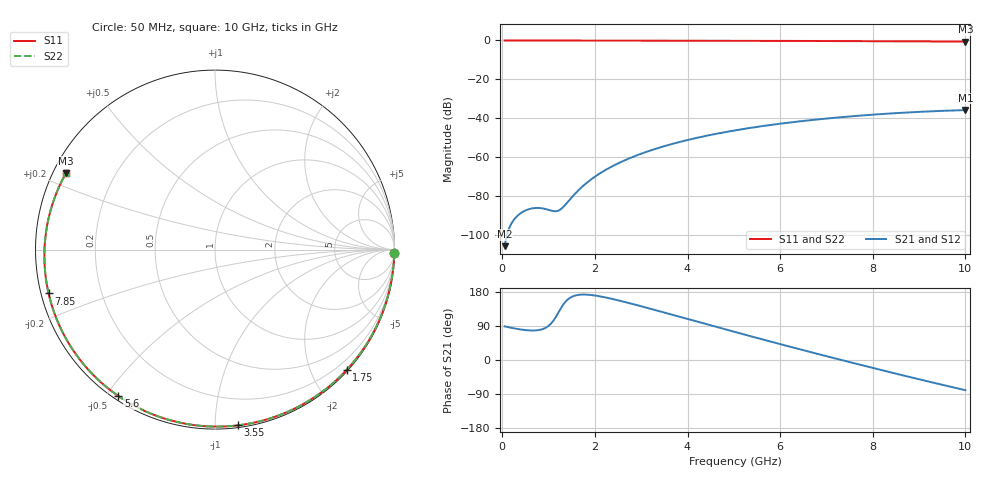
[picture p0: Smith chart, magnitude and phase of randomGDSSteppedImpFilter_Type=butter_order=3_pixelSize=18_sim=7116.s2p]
! freq	dB(S11)	phase(S11)	dB(S12)	phase(S12)
!  dB(S21)	phase(S21)	dB(S22)	phase(S22)
!S-par simulation data
#  GHz  S  DB  R 50
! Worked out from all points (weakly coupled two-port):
!   200 points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, 50 MHz to 10 GHz, reference 50 ohm
!   highest |S21| = -35.88 dB at 10 GHz (marker M1); lowest = -106.0 dB at 50 MHz (marker M2)
!   lowest |S11| = -0.6 dB at 10 GHz (marker M3), VSWR 28.92, Z = 1.83 + j12 ohm
!   |S11| at or under -10 dB: nowhere
!   |S22| runs from -0.6 to 0.0 dB; largest |S21 - S12| = 0
!   S11 on the Smith chart (normalised r, x): 50 MHz: 1, -95; 1.75 GHz: 0.02, -2.57; 3.55 GHz: 0.01, -1.14; 5.6 GHz: 0.01, -0.54; 7.85 GHz: 0.02, -0.13; 10 GHz: 0.04, +0.24
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0.05  -0.00 -1.2  -105.99 88.7  -105.99 88.7  -0.00 -1.2
0.4  -0.02 -9.9  -88.94 80.5  -88.94 80.5  -0.02 -9.9
0.75  -0.02 -18.5  -86.29 78.4  -86.29 78.4  -0.02 -18.5
1.1  -0.03 -27.0  -87.90 103.3  -87.90 103.3  -0.03 -27.0
1.5  -0.05 -36.5  -80.83 166.7  -80.83 166.7  -0.05 -36.5
1.55  -0.05 -37.7  -79.50 169.2  -79.50 169.2  -0.05 -37.7
1.75  -0.05 -42.4  -74.82 172.8  -74.82 172.8  -0.05 -42.4
2.05  -0.06 -49.4  -69.37 169.3  -69.37 169.3  -0.06 -49.4
2.45  -0.07 -58.6  -63.92 159.0  -63.92 159.0  -0.07 -58.6
2.9  -0.09 -68.6  -59.24 145.1  -59.24 145.1  -0.09 -68.6
3.4  -0.10 -79.4  -55.17 128.5  -55.17 128.5  -0.10 -79.4
3.55  -0.11 -82.6  -54.11 123.5  -54.11 123.5  -0.11 -82.6
4.3  -0.14 -98.1  -49.66 98.2  -49.66 98.2  -0.14 -98.1
5.05  -0.17 -112.9  -46.23 73.1  -46.23 73.1  -0.17 -112.9
5.6  -0.20 -123.5  -44.19 54.9  -44.19 54.9  -0.20 -123.5
6.15  -0.23 -133.8  -42.44 37.1  -42.44 37.1  -0.23 -133.8
6.7  -0.27 -144.0  -40.95 19.5  -40.95 19.5  -0.27 -144.0
7.3  -0.32 -155.1  -39.57 0.7  -39.57 0.7  -0.32 -155.1
7.85  -0.37 -165.2  -38.50 -16.3  -38.50 -16.3  -0.37 -165.3
8.35  -0.42 -174.6  -37.67 -31.5  -37.67 -31.5  -0.42 -174.6
9.2  -0.51 169.1  -36.57 -56.8  -36.57 -56.8  -0.51 169.0
10  -0.60 152.9  -35.88 -79.7  -35.88 -79.7  -0.60 152.9
